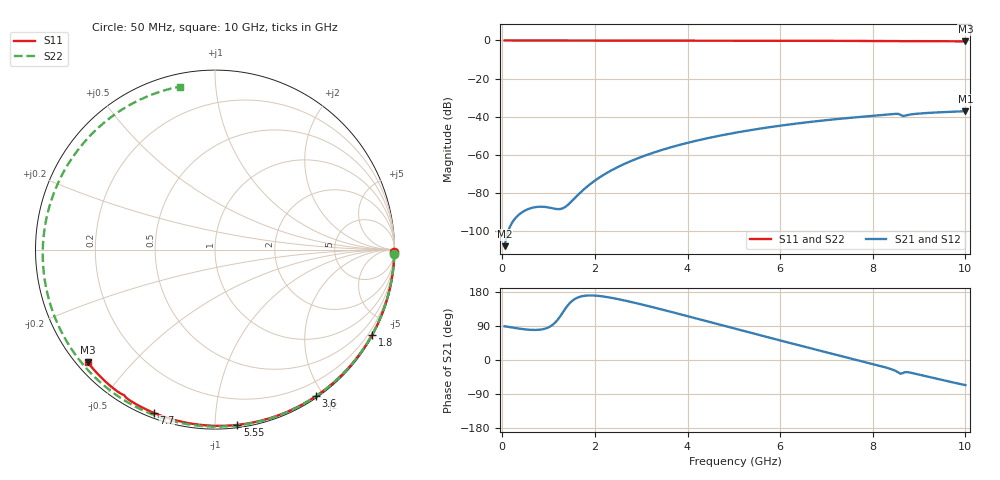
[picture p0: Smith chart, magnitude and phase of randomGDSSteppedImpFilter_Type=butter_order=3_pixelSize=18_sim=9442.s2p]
! freq	dB(S11)	phase(S11)	dB(S12)	phase(S12)
!  dB(S21)	phase(S21)	dB(S22)	phase(S22)
!S-par simulation data
#  GHz  S  DB  R 50
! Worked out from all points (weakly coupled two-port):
!   200 points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, 50 MHz to 10 GHz, reference 50 ohm
!   highest |S21| = -37.08 dB at 10 GHz (marker M1); lowest = -107.8 dB at 50 MHz (marker M2)
!   lowest |S11| = -0.5 dB at 10 GHz (marker M3), VSWR 36.80, Z = 1.55 - j19 ohm
!   |S11| at or under -10 dB: nowhere
!   |S22| runs from -0.6 to 0.0 dB; largest |S21 - S12| = 0
!   S11 on the Smith chart (normalised r, x): 50 MHz: open; 1.8 GHz: 0.03, -3.95; 3.6 GHz: 0.02, -1.90; 5.55 GHz: 0.02, -1.14; 7.7 GHz: 0.02, -0.69; 10 GHz: 0.03, -0.38
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0.05  -0.00 -0.8  -107.80 89.0  -107.80 89.0  -0.00 -1.4
0.8  -0.02 -12.7  -87.15 79.9  -87.15 79.9  -0.03 -22.0
1.65  -0.03 -26.1  -80.57 165.8  -80.57 165.8  -0.06 -44.8
1.75  -0.04 -27.6  -78.29 169.0  -78.29 169.0  -0.06 -47.5
1.8  -0.04 -28.4  -77.23 169.8  -77.23 169.8  -0.06 -48.8
2.1  -0.04 -33.0  -71.78 168.8  -71.78 168.8  -0.07 -56.6
2.45  -0.05 -38.4  -66.89 161.9  -66.89 161.9  -0.08 -65.6
2.9  -0.06 -45.1  -62.00 149.8  -62.00 149.8  -0.10 -76.9
3.4  -0.07 -52.5  -57.73 134.7  -57.73 134.7  -0.12 -89.3
3.6  -0.07 -55.5  -56.27 128.4  -56.27 128.4  -0.12 -94.1
4.3  -0.09 -65.5  -51.93 106.1  -51.93 106.1  -0.15 -110.8
5.05  -0.12 -76.0  -48.27 82.0  -48.27 82.0  -0.19 -128.4
5.55  -0.14 -82.7  -46.26 65.9  -46.26 65.9  -0.22 -140.0
6.15  -0.16 -90.7  -44.18 46.9  -44.18 46.9  -0.27 -154.0
6.7  -0.19 -97.8  -42.55 29.6  -42.55 29.6  -0.31 -167.1
7.2  -0.22 -104.2  -41.26 14.0  -41.26 14.0  -0.36 -179.3
7.7  -0.25 -110.5  -40.13 -1.4  -40.13 -1.4  -0.40 168.1
8.35  -0.30 -118.6  -38.76 -22.3  -38.76 -22.3  -0.47 150.9
8.55  -0.35 -121.2  -38.49 -32.9  -38.49 -32.9  -0.49 145.4
8.65  -0.39 -122.1  -39.57 -34.4  -39.57 -34.4  -0.51 142.6
9.25  -0.39 -129.3  -37.90 -45.9  -37.90 -45.9  -0.56 125.2
10  -0.47 -138.4  -37.08 -66.2  -37.08 -66.2  -0.64 102.0
